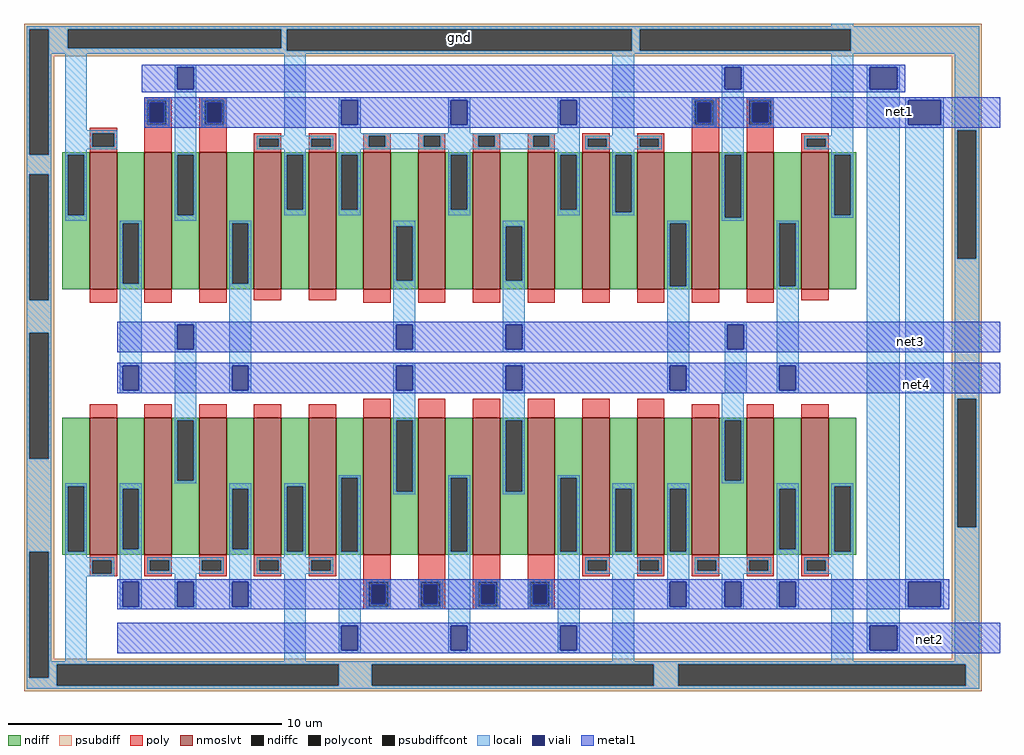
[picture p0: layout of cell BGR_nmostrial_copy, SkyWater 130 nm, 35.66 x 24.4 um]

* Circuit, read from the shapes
.subckt BGR_nmostrial_copy net1 net3 net2 net4 gnd
XM1 net1 gnd gnd gnd sky130_fd_pr__nfet_01v8_lvt w=5 l=1 m=6
XM2 net4 gnd gnd gnd sky130_fd_pr__nfet_01v8_lvt w=5 l=1 m=4
XM3 net3 net1 net1 gnd sky130_fd_pr__nfet_01v8_lvt w=5 l=1 m=8
XM4 net2 net1 net4 gnd sky130_fd_pr__nfet_01v8_lvt w=5 l=1 m=8
XM5 net2 gnd gnd gnd sky130_fd_pr__nfet_01v8_lvt w=5 l=1 m=2
.ends

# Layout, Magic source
magic
tech sky130A
<< nmoslvt >>
rect -60 200 40 700
rect 140 200 240 700
rect 340 200 440 700
rect 540 200 640 700
rect 740 200 840 700
rect 940 200 1040 700
rect 1140 200 1240 700
rect 1340 200 1440 700
rect 1540 200 1640 700
rect 1740 200 1840 700
rect 1940 200 2040 700
rect 2140 200 2240 700
rect 2340 200 2440 700
rect 2540 200 2640 700
rect -60 -770 40 -270
rect 140 -770 240 -270
rect 340 -770 440 -270
rect 540 -770 640 -270
rect 740 -770 840 -270
rect 940 -770 1040 -270
rect 1140 -770 1240 -270
rect 1340 -770 1440 -270
rect 1540 -770 1640 -270
rect 1740 -770 1840 -270
rect 1940 -770 2040 -270
rect 2140 -770 2240 -270
rect 2340 -770 2440 -270
rect 2540 -770 2640 -270
<< ndiff >>
rect -160 690 -60 700
rect -160 470 -140 690
rect -80 470 -60 690
rect -160 200 -60 470
rect 40 440 140 700
rect 40 220 60 440
rect 120 220 140 440
rect 40 200 140 220
rect 240 690 340 700
rect 240 470 260 690
rect 320 470 340 690
rect 240 200 340 470
rect 440 440 540 700
rect 440 220 460 440
rect 520 220 540 440
rect 440 200 540 220
rect 640 690 740 700
rect 640 490 660 690
rect 720 490 740 690
rect 640 200 740 490
rect 840 690 940 700
rect 840 490 860 690
rect 920 490 940 690
rect 840 200 940 490
rect 1040 430 1140 700
rect 1040 230 1060 430
rect 1120 230 1140 430
rect 1040 200 1140 230
rect 1240 690 1340 700
rect 1240 490 1260 690
rect 1320 490 1340 690
rect 1240 200 1340 490
rect 1440 430 1540 700
rect 1440 230 1460 430
rect 1520 230 1540 430
rect 1440 200 1540 230
rect 1640 690 1740 700
rect 1640 490 1660 690
rect 1720 490 1740 690
rect 1640 200 1740 490
rect 1840 690 1940 700
rect 1840 480 1860 690
rect 1920 480 1940 690
rect 1840 200 1940 480
rect 2040 440 2140 700
rect 2040 210 2060 440
rect 2120 210 2140 440
rect 2040 200 2140 210
rect 2240 690 2340 700
rect 2240 460 2260 690
rect 2320 460 2340 690
rect 2240 200 2340 460
rect 2440 440 2540 700
rect 2440 210 2460 440
rect 2520 210 2540 440
rect 2440 200 2540 210
rect 2640 690 2740 700
rect 2640 470 2660 690
rect 2720 470 2740 690
rect 2640 200 2740 470
rect -160 -520 -60 -270
rect -160 -760 -140 -520
rect -80 -760 -60 -520
rect -160 -770 -60 -760
rect 40 -530 140 -270
rect 40 -750 60 -530
rect 120 -750 140 -530
rect 40 -770 140 -750
rect 240 -280 340 -270
rect 240 -500 260 -280
rect 320 -500 340 -280
rect 240 -770 340 -500
rect 440 -530 540 -270
rect 440 -750 460 -530
rect 520 -750 540 -530
rect 440 -770 540 -750
rect 640 -520 740 -270
rect 640 -760 660 -520
rect 720 -760 740 -520
rect 640 -770 740 -760
rect 840 -490 940 -270
rect 840 -760 860 -490
rect 920 -760 940 -490
rect 840 -770 940 -760
rect 1040 -280 1140 -270
rect 1040 -540 1060 -280
rect 1120 -540 1140 -280
rect 1040 -770 1140 -540
rect 1240 -490 1340 -270
rect 1240 -760 1260 -490
rect 1320 -760 1340 -490
rect 1240 -770 1340 -760
rect 1440 -280 1540 -270
rect 1440 -540 1460 -280
rect 1520 -540 1540 -280
rect 1440 -770 1540 -540
rect 1640 -490 1740 -270
rect 1640 -760 1660 -490
rect 1720 -760 1740 -490
rect 1640 -770 1740 -760
rect 1840 -530 1940 -270
rect 1840 -760 1860 -530
rect 1920 -760 1940 -530
rect 1840 -770 1940 -760
rect 2040 -530 2140 -270
rect 2040 -760 2060 -530
rect 2120 -760 2140 -530
rect 2040 -770 2140 -760
rect 2240 -280 2340 -270
rect 2240 -500 2260 -280
rect 2320 -500 2340 -280
rect 2240 -770 2340 -500
rect 2440 -530 2540 -270
rect 2440 -750 2460 -530
rect 2520 -750 2540 -530
rect 2440 -770 2540 -750
rect 2640 -520 2740 -270
rect 2640 -760 2660 -520
rect 2720 -760 2740 -520
rect 2640 -770 2740 -760
<< ndiffc >>
rect -140 470 -80 690
rect 60 220 120 440
rect 260 470 320 690
rect 460 220 520 440
rect 660 490 720 690
rect 860 490 920 690
rect 1060 230 1120 430
rect 1260 490 1320 690
rect 1460 230 1520 430
rect 1660 490 1720 690
rect 1860 480 1920 690
rect 2060 210 2120 440
rect 2260 460 2320 690
rect 2460 210 2520 440
rect 2660 470 2720 690
rect -140 -760 -80 -520
rect 60 -750 120 -530
rect 260 -500 320 -280
rect 460 -750 520 -530
rect 660 -760 720 -520
rect 860 -760 920 -490
rect 1060 -540 1120 -280
rect 1260 -760 1320 -490
rect 1460 -540 1520 -280
rect 1660 -760 1720 -490
rect 1860 -760 1920 -530
rect 2060 -760 2120 -530
rect 2260 -500 2320 -280
rect 2460 -750 2520 -530
rect 2660 -760 2720 -520
<< psubdiff >>
rect -300 1150 3200 1170
rect -300 690 -280 1150
rect -210 1080 -140 1150
rect 640 1080 660 1150
rect -210 1070 660 1080
rect 1920 1070 1950 1150
rect 2720 1070 3200 1150
rect -210 1050 3200 1070
rect -210 690 -190 1050
rect 3090 780 3200 1050
rect -300 620 -190 690
rect -300 160 -280 620
rect -210 160 -190 620
rect 3090 310 3110 780
rect 3180 310 3200 780
rect -300 40 -190 160
rect -300 -420 -280 40
rect -210 -420 -190 40
rect 3090 -200 3200 310
rect -300 -760 -190 -420
rect -300 -1220 -280 -760
rect -210 -1150 -190 -760
rect 3090 -670 3110 -200
rect 3180 -670 3200 -200
rect 3090 -1150 3200 -670
rect -210 -1170 3200 -1150
rect -210 -1220 -180 -1170
rect -300 -1250 -180 -1220
rect 850 -1250 970 -1170
rect 2000 -1250 2090 -1170
rect 3140 -1250 3200 -1170
rect -300 -1270 3200 -1250
<< psubdiffcont >>
rect -280 690 -210 1150
rect -140 1080 640 1150
rect 660 1070 1920 1150
rect 1950 1070 2720 1150
rect -280 160 -210 620
rect 3110 310 3180 780
rect -280 -420 -210 40
rect -280 -1220 -210 -760
rect 3110 -670 3180 -200
rect -180 -1250 850 -1170
rect 970 -1250 2000 -1170
rect 2090 -1250 3140 -1170
<< poly >>
rect 140 890 240 900
rect 140 800 150 890
rect 220 800 240 890
rect -60 770 40 790
rect -60 720 -50 770
rect 30 720 40 770
rect -60 700 40 720
rect 140 700 240 800
rect 340 890 440 900
rect 340 800 360 890
rect 430 800 440 890
rect 340 700 440 800
rect 2140 890 2240 900
rect 2140 800 2150 890
rect 2220 800 2240 890
rect 540 750 640 770
rect 540 720 560 750
rect 630 720 640 750
rect 540 700 640 720
rect 740 750 840 770
rect 740 720 750 750
rect 820 720 840 750
rect 740 700 840 720
rect 940 760 1040 770
rect 940 720 960 760
rect 1020 720 1040 760
rect 940 700 1040 720
rect 1140 760 1240 770
rect 1140 720 1160 760
rect 1220 720 1240 760
rect 1140 700 1240 720
rect 1340 760 1440 770
rect 1340 720 1360 760
rect 1420 720 1440 760
rect 1340 700 1440 720
rect 1540 760 1640 770
rect 1540 720 1560 760
rect 1620 720 1640 760
rect 1540 700 1640 720
rect 1740 750 1840 770
rect 1740 720 1760 750
rect 1830 720 1840 750
rect 1740 700 1840 720
rect 1940 750 2040 770
rect 1940 720 1950 750
rect 2020 720 2040 750
rect 1940 700 2040 720
rect 2140 700 2240 800
rect 2340 890 2440 900
rect 2340 800 2350 890
rect 2430 800 2440 890
rect 2340 700 2440 800
rect 2540 750 2640 770
rect 2540 720 2560 750
rect 2630 720 2640 750
rect 2540 700 2640 720
rect -60 150 40 200
rect 140 150 240 200
rect 340 150 440 200
rect 540 160 640 200
rect 740 160 840 200
rect 940 150 1040 200
rect 1140 150 1240 200
rect 1340 150 1440 200
rect 1540 150 1640 200
rect 1740 150 1840 200
rect 1940 150 2040 200
rect 2140 150 2240 200
rect 2340 150 2440 200
rect 2540 160 2640 200
rect -60 -270 40 -220
rect 140 -270 240 -220
rect 340 -270 440 -220
rect 540 -270 640 -220
rect 740 -270 840 -220
rect 940 -270 1040 -200
rect 1140 -270 1240 -200
rect 1340 -270 1440 -200
rect 1540 -270 1640 -200
rect 1740 -270 1840 -200
rect 1940 -270 2040 -200
rect 2140 -270 2240 -220
rect 2340 -270 2440 -220
rect 2540 -270 2640 -220
rect -60 -790 40 -770
rect -60 -840 -50 -790
rect 20 -840 40 -790
rect -60 -850 40 -840
rect 140 -790 240 -770
rect 140 -830 160 -790
rect 230 -830 240 -790
rect 140 -850 240 -830
rect 340 -790 440 -770
rect 340 -830 350 -790
rect 420 -830 440 -790
rect 340 -850 440 -830
rect 540 -790 640 -770
rect 540 -830 560 -790
rect 630 -830 640 -790
rect 540 -850 640 -830
rect 740 -790 840 -770
rect 740 -830 750 -790
rect 820 -830 840 -790
rect 740 -850 840 -830
rect 940 -870 1040 -770
rect 940 -960 960 -870
rect 1030 -960 1040 -870
rect 940 -970 1040 -960
rect 1140 -870 1240 -770
rect 1140 -960 1150 -870
rect 1220 -960 1240 -870
rect 1140 -970 1240 -960
rect 1340 -870 1440 -770
rect 1340 -960 1360 -870
rect 1430 -960 1440 -870
rect 1340 -970 1440 -960
rect 1540 -870 1640 -770
rect 1740 -790 1840 -770
rect 1740 -830 1760 -790
rect 1830 -830 1840 -790
rect 1740 -850 1840 -830
rect 1940 -790 2040 -770
rect 1940 -830 1950 -790
rect 2020 -830 2040 -790
rect 1940 -850 2040 -830
rect 2140 -790 2240 -770
rect 2140 -830 2160 -790
rect 2230 -830 2240 -790
rect 2140 -850 2240 -830
rect 2340 -790 2440 -770
rect 2340 -830 2350 -790
rect 2420 -830 2440 -790
rect 2340 -850 2440 -830
rect 2540 -790 2640 -770
rect 2540 -830 2560 -790
rect 2630 -830 2640 -790
rect 2540 -850 2640 -830
rect 1540 -960 1550 -870
rect 1620 -960 1640 -870
rect 1540 -970 1640 -960
<< polycont >>
rect 150 800 220 890
rect -50 720 30 770
rect 360 800 430 890
rect 2150 800 2220 890
rect 560 720 630 750
rect 750 720 820 750
rect 960 720 1020 760
rect 1160 720 1220 760
rect 1360 720 1420 760
rect 1560 720 1620 760
rect 1760 720 1830 750
rect 1950 720 2020 750
rect 2350 800 2430 890
rect 2560 720 2630 750
rect -50 -840 20 -790
rect 160 -830 230 -790
rect 350 -830 420 -790
rect 560 -830 630 -790
rect 750 -830 820 -790
rect 960 -960 1030 -870
rect 1150 -960 1220 -870
rect 1360 -960 1430 -870
rect 1760 -830 1830 -790
rect 1950 -830 2020 -790
rect 2160 -830 2230 -790
rect 2350 -830 2420 -790
rect 2560 -830 2630 -790
rect 1550 -960 1620 -870
<< locali >>
rect 2650 1160 2730 1170
rect -290 1150 3190 1160
rect -290 690 -280 1150
rect -210 1080 -140 1150
rect 640 1080 660 1150
rect -210 1070 660 1080
rect 1920 1070 1950 1150
rect 2720 1070 3190 1150
rect -210 1060 3190 1070
rect -210 690 -200 1060
rect -290 620 -200 690
rect -290 160 -280 620
rect -210 160 -200 620
rect -150 780 -70 1060
rect 250 1010 330 1020
rect 250 930 260 1010
rect 320 930 330 1010
rect 140 890 230 900
rect 140 800 150 890
rect 220 800 230 890
rect 140 790 230 800
rect -150 770 40 780
rect -150 720 -50 770
rect 30 720 40 770
rect -150 710 40 720
rect -150 690 -70 710
rect -150 470 -140 690
rect -80 470 -70 690
rect -150 450 -70 470
rect 250 690 330 930
rect 350 890 440 900
rect 350 800 360 890
rect 430 800 440 890
rect 350 790 440 800
rect 650 760 730 1060
rect 850 890 930 900
rect 850 800 860 890
rect 920 800 930 890
rect 850 770 930 800
rect 1250 890 1330 900
rect 1250 800 1260 890
rect 1320 800 1330 890
rect 1250 770 1330 800
rect 1650 890 1730 900
rect 1650 800 1660 890
rect 1720 800 1730 890
rect 1650 770 1730 800
rect 850 760 1730 770
rect 1850 760 1930 1060
rect 2250 1010 2330 1020
rect 2250 930 2260 1010
rect 2320 930 2330 1010
rect 2140 890 2230 900
rect 2140 800 2150 890
rect 2220 800 2230 890
rect 2140 790 2230 800
rect 550 750 830 760
rect 550 720 560 750
rect 630 720 750 750
rect 820 720 830 750
rect 550 710 830 720
rect 850 720 960 760
rect 1020 720 1160 760
rect 1220 720 1360 760
rect 1420 720 1560 760
rect 1620 720 1730 760
rect 850 710 1730 720
rect 1750 750 2030 760
rect 1750 720 1760 750
rect 1830 720 1950 750
rect 2020 720 2030 750
rect 1750 710 2030 720
rect 250 470 260 690
rect 320 470 330 690
rect 650 690 730 710
rect 650 490 660 690
rect 720 490 730 690
rect 650 470 730 490
rect 850 690 930 710
rect 850 490 860 690
rect 920 490 930 690
rect 850 470 930 490
rect 1250 690 1330 710
rect 1250 490 1260 690
rect 1320 490 1330 690
rect 1250 470 1330 490
rect 1650 690 1730 710
rect 1650 490 1660 690
rect 1720 490 1730 690
rect 1650 470 1730 490
rect 1850 690 1930 710
rect 1850 480 1860 690
rect 1920 480 1930 690
rect 1850 470 1930 480
rect 2250 690 2330 930
rect 2350 890 2440 900
rect 2430 800 2440 890
rect 2350 790 2440 800
rect 2650 760 2730 1060
rect 2550 750 2730 760
rect 2550 720 2560 750
rect 2630 720 2730 750
rect 2550 710 2730 720
rect 250 450 330 470
rect 2250 460 2260 690
rect 2320 460 2330 690
rect 2650 690 2730 710
rect 2650 470 2660 690
rect 2720 470 2730 690
rect 2650 460 2730 470
rect 2780 1010 2900 1020
rect 2780 930 2790 1010
rect 2890 930 2900 1010
rect 2250 450 2330 460
rect -290 40 -200 160
rect -290 -420 -280 40
rect -210 -420 -200 40
rect 50 440 130 450
rect 50 220 60 440
rect 120 220 130 440
rect 50 -80 130 220
rect 450 440 530 450
rect 450 220 460 440
rect 520 220 530 440
rect 50 -170 60 -80
rect 120 -170 130 -80
rect 50 -180 130 -170
rect 250 70 330 80
rect 250 -20 260 70
rect 320 -20 330 70
rect -290 -760 -200 -420
rect 250 -280 330 -20
rect 450 -80 530 220
rect 1050 430 1130 450
rect 1050 230 1060 430
rect 1120 230 1130 430
rect 1050 70 1130 230
rect 1050 -20 1060 70
rect 1120 -20 1130 70
rect 1050 -30 1130 -20
rect 1450 430 1530 450
rect 1450 230 1460 430
rect 1520 230 1530 430
rect 1450 70 1530 230
rect 1450 -20 1460 70
rect 1520 -20 1530 70
rect 1450 -30 1530 -20
rect 2050 440 2130 450
rect 2050 210 2060 440
rect 2120 210 2130 440
rect 450 -170 460 -80
rect 520 -170 530 -80
rect 450 -180 530 -170
rect 1050 -80 1130 -70
rect 1050 -170 1060 -80
rect 1120 -170 1130 -80
rect 250 -500 260 -280
rect 320 -500 330 -280
rect 1050 -280 1130 -170
rect 250 -510 330 -500
rect 850 -490 930 -480
rect -290 -1220 -280 -760
rect -210 -1160 -200 -760
rect -150 -520 -70 -510
rect -150 -760 -140 -520
rect -80 -760 -70 -520
rect -150 -780 -70 -760
rect 50 -530 130 -510
rect 50 -750 60 -530
rect 120 -750 130 -530
rect -150 -790 30 -780
rect -150 -840 -50 -790
rect 20 -840 30 -790
rect -150 -850 30 -840
rect -150 -1160 -70 -850
rect 50 -870 130 -750
rect 450 -530 530 -510
rect 450 -750 460 -530
rect 520 -750 530 -530
rect 150 -790 430 -780
rect 150 -830 160 -790
rect 230 -830 350 -790
rect 420 -830 430 -790
rect 150 -840 430 -830
rect 50 -960 60 -870
rect 120 -960 130 -870
rect 50 -970 130 -960
rect 250 -870 330 -840
rect 250 -960 260 -870
rect 320 -960 330 -870
rect 250 -970 330 -960
rect 450 -870 530 -750
rect 650 -520 730 -510
rect 650 -760 660 -520
rect 720 -760 730 -520
rect 650 -780 730 -760
rect 850 -760 860 -490
rect 920 -760 930 -490
rect 1050 -540 1060 -280
rect 1120 -540 1130 -280
rect 1450 -80 1530 -70
rect 1450 -170 1460 -80
rect 1520 -170 1530 -80
rect 1450 -280 1530 -170
rect 2050 -80 2130 210
rect 2450 440 2530 450
rect 2450 210 2460 440
rect 2520 210 2530 440
rect 2050 -170 2060 -80
rect 2120 -170 2130 -80
rect 2050 -180 2130 -170
rect 2260 70 2340 80
rect 2260 -20 2270 70
rect 2330 -20 2340 70
rect 2260 -180 2340 -20
rect 2450 -80 2530 210
rect 2450 -170 2460 -80
rect 2520 -170 2530 -80
rect 2450 -180 2530 -170
rect 1050 -550 1130 -540
rect 1250 -490 1330 -480
rect 550 -790 830 -780
rect 550 -830 560 -790
rect 630 -830 750 -790
rect 820 -830 830 -790
rect 550 -840 830 -830
rect 450 -960 460 -870
rect 520 -960 530 -870
rect 450 -970 530 -960
rect 650 -1160 730 -840
rect 850 -1030 930 -760
rect 1250 -760 1260 -490
rect 1320 -760 1330 -490
rect 1450 -540 1460 -280
rect 1520 -540 1530 -280
rect 2250 -280 2330 -180
rect 1450 -550 1530 -540
rect 1650 -490 1730 -480
rect 950 -870 1040 -860
rect 950 -960 960 -870
rect 1030 -960 1040 -870
rect 950 -970 1040 -960
rect 1140 -870 1230 -860
rect 1140 -960 1150 -870
rect 1220 -960 1230 -870
rect 1140 -970 1230 -960
rect 850 -1120 860 -1030
rect 920 -1120 930 -1030
rect 850 -1130 930 -1120
rect 1250 -1030 1330 -760
rect 1650 -760 1660 -490
rect 1720 -760 1730 -490
rect 2250 -500 2260 -280
rect 2320 -500 2330 -280
rect 2250 -510 2330 -500
rect 1350 -870 1440 -860
rect 1350 -960 1360 -870
rect 1430 -960 1440 -870
rect 1350 -970 1440 -960
rect 1540 -870 1630 -860
rect 1540 -960 1550 -870
rect 1620 -960 1630 -870
rect 1540 -970 1630 -960
rect 1250 -1120 1260 -1030
rect 1320 -1120 1330 -1030
rect 1250 -1130 1330 -1120
rect 1650 -1030 1730 -760
rect 1850 -530 1930 -510
rect 1850 -760 1860 -530
rect 1920 -760 1930 -530
rect 1850 -780 1930 -760
rect 2050 -530 2130 -510
rect 2050 -760 2060 -530
rect 2120 -760 2130 -530
rect 1750 -790 2030 -780
rect 1750 -830 1760 -790
rect 1830 -830 1950 -790
rect 2020 -830 2030 -790
rect 1750 -840 2030 -830
rect 1650 -1120 1660 -1030
rect 1720 -1120 1730 -1030
rect 1650 -1130 1730 -1120
rect 1850 -1160 1930 -840
rect 2050 -870 2130 -760
rect 2450 -530 2530 -510
rect 2450 -750 2460 -530
rect 2520 -750 2530 -530
rect 2150 -790 2430 -780
rect 2150 -830 2160 -790
rect 2230 -830 2350 -790
rect 2420 -830 2430 -790
rect 2150 -840 2430 -830
rect 2050 -960 2060 -870
rect 2120 -960 2130 -870
rect 2050 -970 2130 -960
rect 2250 -870 2330 -840
rect 2250 -960 2260 -870
rect 2320 -960 2330 -870
rect 2250 -970 2330 -960
rect 2450 -870 2530 -750
rect 2650 -520 2730 -510
rect 2650 -760 2660 -520
rect 2720 -760 2730 -520
rect 2650 -780 2730 -760
rect 2550 -790 2730 -780
rect 2550 -830 2560 -790
rect 2630 -830 2730 -790
rect 2550 -840 2730 -830
rect 2450 -960 2460 -870
rect 2520 -960 2530 -870
rect 2450 -970 2530 -960
rect 2650 -1160 2730 -840
rect 2780 -1030 2900 930
rect 2920 890 3060 900
rect 2920 800 2930 890
rect 3050 800 3060 890
rect 2920 -870 3060 800
rect 2920 -960 2930 -870
rect 3050 -960 3060 -870
rect 2920 -970 3060 -960
rect 3100 780 3190 1060
rect 3100 310 3110 780
rect 3180 310 3190 780
rect 3100 -200 3190 310
rect 3100 -670 3110 -200
rect 3180 -670 3190 -200
rect 2780 -1120 2790 -1030
rect 2890 -1120 2900 -1030
rect 2780 -1130 2900 -1120
rect 3100 -1160 3190 -670
rect -210 -1170 3190 -1160
rect -210 -1220 -180 -1170
rect -290 -1250 -180 -1220
rect 850 -1250 970 -1170
rect 2000 -1250 2090 -1170
rect 3140 -1250 3190 -1170
rect -290 -1260 3190 -1250
<< viali >>
rect 260 930 320 1010
rect 160 810 210 880
rect 370 810 420 880
rect 860 800 920 890
rect 1260 800 1320 890
rect 1660 800 1720 890
rect 2260 930 2320 1010
rect 2160 810 2210 880
rect 2360 810 2420 880
rect 2790 930 2890 1010
rect 60 -170 120 -80
rect 260 -20 320 70
rect 1060 -20 1120 70
rect 1460 -20 1520 70
rect 460 -170 520 -80
rect 1060 -170 1120 -80
rect 60 -960 120 -870
rect 260 -960 320 -870
rect 1460 -170 1520 -80
rect 2060 -170 2120 -80
rect 2270 -20 2330 70
rect 2460 -170 2520 -80
rect 460 -960 520 -870
rect 970 -950 1020 -880
rect 1160 -950 1210 -880
rect 860 -1120 920 -1030
rect 1370 -950 1420 -880
rect 1560 -950 1610 -880
rect 1260 -1120 1320 -1030
rect 1660 -1120 1720 -1030
rect 2060 -960 2120 -870
rect 2260 -960 2320 -870
rect 2460 -960 2520 -870
rect 2930 800 3050 890
rect 2930 -960 3050 -870
rect 2790 -1120 2890 -1030
<< metal1 >>
rect 130 1010 2920 1020
rect 130 930 260 1010
rect 320 930 2260 1010
rect 2320 930 2790 1010
rect 2890 930 2920 1010
rect 130 920 2920 930
rect 140 890 3266 900
rect 140 880 860 890
rect 140 810 160 880
rect 210 810 370 880
rect 420 810 860 880
rect 140 800 860 810
rect 920 800 1260 890
rect 1320 800 1660 890
rect 1720 880 2930 890
rect 1720 810 2160 880
rect 2210 810 2360 880
rect 2420 810 2930 880
rect 1720 800 2930 810
rect 3050 800 3266 890
rect 140 790 3266 800
rect 40 70 3266 80
rect 40 -20 260 70
rect 320 -20 1060 70
rect 1120 -20 1460 70
rect 1520 -20 2270 70
rect 2330 -20 3266 70
rect 40 -30 3266 -20
rect 40 -80 3266 -70
rect 40 -170 60 -80
rect 120 -170 460 -80
rect 520 -170 1060 -80
rect 1120 -170 1460 -80
rect 1520 -170 2060 -80
rect 2120 -170 2460 -80
rect 2520 -170 3266 -80
rect 40 -180 3266 -170
rect 40 -870 3080 -860
rect 40 -960 60 -870
rect 120 -960 260 -870
rect 320 -960 460 -870
rect 520 -880 2060 -870
rect 520 -950 970 -880
rect 1020 -950 1160 -880
rect 1210 -950 1370 -880
rect 1420 -950 1560 -880
rect 1610 -950 2060 -880
rect 520 -960 2060 -950
rect 2120 -960 2260 -870
rect 2320 -960 2460 -870
rect 2520 -960 2930 -870
rect 3050 -960 3080 -870
rect 40 -970 3080 -960
rect 40 -1030 3266 -1020
rect 40 -1120 860 -1030
rect 920 -1120 1260 -1030
rect 1320 -1120 1660 -1030
rect 1720 -1120 2790 -1030
rect 2890 -1120 3266 -1030
rect 40 -1130 3266 -1120
<< labels >>
rlabel metal1 2900 850 2900 850 1 net1
port 1 n
rlabel metal1 2940 10 2940 10 1 net3
port 2 n
rlabel metal1 2960 -150 2960 -150 1 net4
port 4 n
rlabel metal1 3010 -1080 3010 -1080 1 net2
port 3 n
rlabel psubdiffcont 1290 1120 1290 1120 1 gnd
port 5 n
<< end >>
